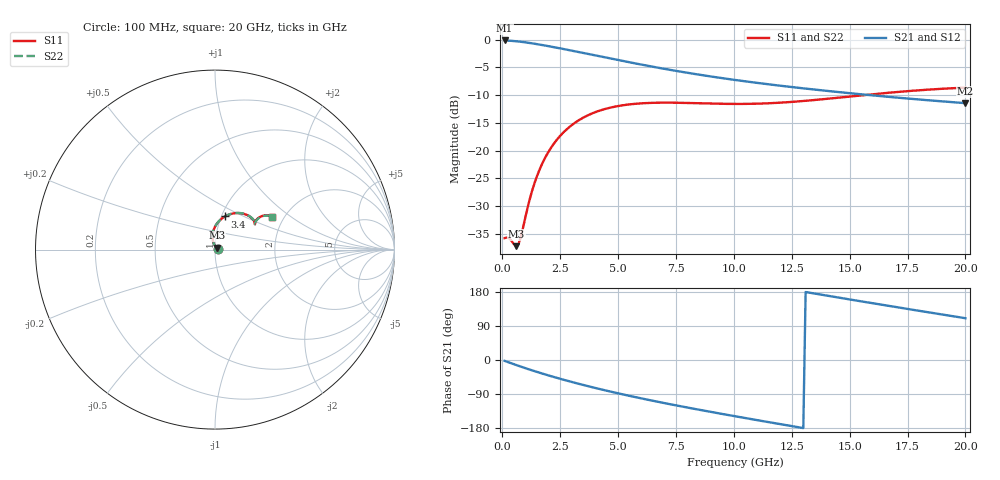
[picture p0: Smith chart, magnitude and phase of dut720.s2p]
! Touchstone file exported from HFSS 2024.1.0
!  File:  C:/UserFiles/LocalFiles/RDL_TSV_Batchsim/temp_RDL_TSV_720_1779890784.aedt
!  Generated:  10:20:50 PM May 27, 2026
!  Design:  RDL_TSV
!  Project:  temp_RDL_TSV_720_1779890784
!  Setup:  Setup1
!  Solution:  Sweep
! Variables:
!  dtsv = 13.75um
!  hbump = 3um
!  htsv = 65.03um
!  ldown = 473.03um
!  lrdl = 585.81um
!  p = 40
!  p1 = 55.29um
!  rhole = 10um
!  subl = 3762.33um
!  t = 450um
!  tdown = 2.98um
!  trdl = 4.43um
!  viad = 10um
!  wdown = 23.44um
!  wrdl = 21.72um
!  xbump = 18um
# GHz S MA R 50.000000
! Terminal data exported
! Port[1] = TM1_1_T1
! Port[2] = TM1_4_T1
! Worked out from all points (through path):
!   200 points, 100 MHz to 20 GHz, reference 50 ohm
!   highest |S21| = -0.15 dB at 100 MHz (marker M1); lowest = -11.5 dB at 20 GHz (marker M2)
!   group delay of S21, straight-line fit = 32.7 ps
!   lowest |S11| = -37.2 dB at 600 MHz (marker M3), VSWR 1.03, Z = 50.9 + j1.01 ohm
!   |S11| at or under -10 dB: start of sweep to 15.62 GHz
!   |S22| runs from -37.2 to -8.7 dB; largest |S21 - S12| = 8.6e-15
!   S11 on the Smith chart (normalised r, x): 100 MHz: 1.03, +0.00; 3.4 GHz: 1.04, +0.40; 20 GHz: 1.74, +0.74
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0.1  0.01624 6.9  0.9832 -2.3  0.9832 -2.3  0.01624 6.9
! Gamma 0 0 0 0
! Port Impedance 50 0 50 0
0.3  0.01614 17.1  0.9784 -6.8  0.9784 -6.8  0.01614 17.1
0.6  0.01373 46.3  0.9671 -13.3  0.9671 -13.3  0.01373 46.4
0.7  0.01434 62.5  0.9623 -15.4  0.9623 -15.4  0.01434 62.6
0.8  0.01656 77.6  0.957 -17.5  0.957 -17.5  0.01657 77.7
1.1  0.03098 100.2  0.9389 -23.6  0.9389 -23.6  0.03102 100.3
1.4  0.05142 103.6  0.9183 -29.6  0.9183 -29.6  0.05149 103.6
1.8  0.08211 99.7  0.8885 -37.2  0.8885 -37.2  0.08222 99.8
2.1  0.1056 95.0  0.8654 -42.6  0.8654 -42.6  0.1057 95.0
2.5  0.1357 88.0  0.8343 -49.6  0.8343 -49.6  0.1359 88.1
3.4  0.1929 73.2  0.7657 -64.4  0.7657 -64.4  0.1932 73.3
3.5  0.1982 71.7  0.7583 -66.0  0.7583 -66.0  0.1985 71.8
4.2  0.2289 62.1  0.7082 -76.6  0.7082 -76.6  0.2294 62.2
5.1  0.254 52.0  0.6488 -89.3  0.6488 -89.3  0.2546 52.1
5.9  0.2655 45.1  0.6016 -100.0  0.6016 -100.0  0.2663 45.1
6.8  0.2701 39.3  0.5548 -111.3  0.5548 -111.3  0.271 39.3
8.4  0.2672 33.6  0.4868 -130.1  0.4868 -130.1  0.2682 33.5
10.1  0.2631 32.5  0.4316 -149.0  0.4316 -149.0  0.2641 32.3
11.7  0.268 33.9  0.391 -166.0  0.391 -166.0  0.2688 33.7
13.4  0.2844 35.7  0.3562 176.2  0.3562 176.2  0.2849 35.4
16.7  0.3322 34.9  0.3046 142.7  0.3046 142.7  0.332 34.5
20  0.3692 29.9  0.2675 110.3  0.2675 110.3  0.3684 29.6
